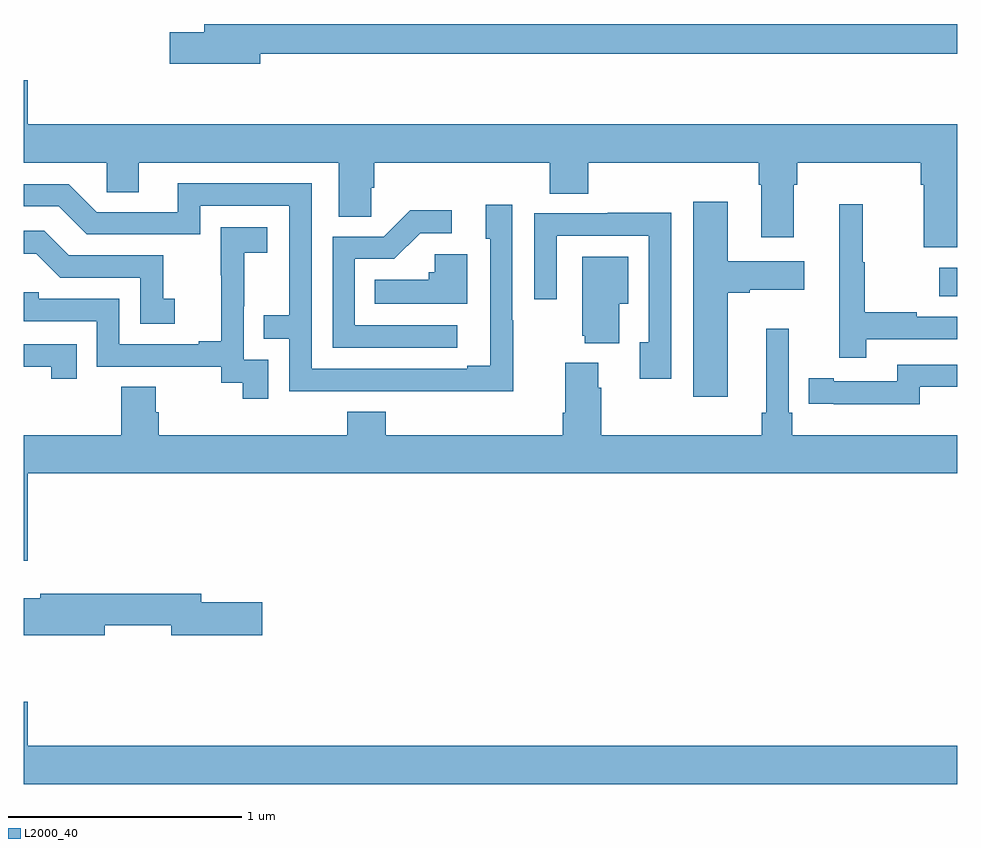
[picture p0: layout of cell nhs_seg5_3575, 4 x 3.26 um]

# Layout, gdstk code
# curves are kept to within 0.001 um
import gdstk
lib = gdstk.Library(unit=1e-6, precision=1e-09)
def R(c, l, rs):  # rectangles x0, y0, x1, y1
    for r in rs: c.add(gdstk.rectangle(r[:2], r[2:], *l))
def P(c, l, *ps):  # polygons
    for p in ps: c.add(gdstk.Polygon(p, *l))
L2000_40 = (2000, 40)

nhs_seg5_3575 = lib.new_cell('nhs_seg5_3575')
R(nhs_seg5_3575, L2000_40, [(324.923,893.483,325,893.605)])
P(nhs_seg5_3575, L2000_40, [(322.012,894.522),(325,894.522),(325,894.65),(321.773,894.65),(321.773,894.614),(321.624,894.614),(321.624,894.479),(322.012,894.479)],
  [(325,894.22),(321.016,894.22),(321.016,894.409),(321,894.409),(321,894.056),(321.354,894.056),(321.354,893.929),(321.493,893.929),(321.493,894.056),(322.349,894.056),(322.349,893.824),(322.488,893.824),(322.488,893.947),(322.502,893.947),(322.502,894.056),(323.255,894.056),(323.255,893.923),(323.42,893.923),(323.42,894.056),(324.149,894.056),(324.149,893.96),(324.161,893.96),(324.161,893.736),(324.301,893.736),(324.301,893.96),(324.314,893.96),(324.314,894.056),(324.845,894.056),(324.845,893.96),(324.857,893.96),(324.857,893.694),(325,893.694)],
  [(323.097,893.381),(323.094,893.381),(323.094,893.875),(322.979,893.875),(322.979,893.73),(322.998,893.73),(322.998,893.185),(322.901,893.185),(322.901,893.172),(322.233,893.172),(322.233,893.967),(321.659,893.967),(321.659,893.844),(321.312,893.844),(321.192,893.964),(321,893.964),(321,893.868),(321.15,893.868),(321.27,893.748),(321.756,893.748),(321.756,893.871),(322.137,893.871),(322.137,893.402),(322.027,893.402),(322.027,893.301),(322.137,893.301),(322.137,893.076),(323.097,893.075)],
  [(324.016,893.498),(324.112,893.498),(324.112,893.51),(324.346,893.51),(324.346,893.632),(324.016,893.632),(324.016,893.887),(323.87,893.887),(323.87,893.052),(324.016,893.052)],
  [(324.611,893.298),(325,893.298),(325,893.394),(324.827,893.394),(324.827,893.414),(324.604,893.414),(324.604,893.628),(324.596,893.628),(324.596,893.878),(324.494,893.878),(324.494,893.22),(324.611,893.22)],
  [(322.858,893.358),(322.419,893.358),(322.419,893.643),(322.588,893.643),(322.699,893.754),(322.834,893.754),(322.834,893.852),(322.655,893.852),(322.542,893.739),(322.323,893.739),(322.323,893.262),(322.858,893.262)],
  [(323.775,893.84),(323.503,893.84),(323.503,893.838),(323.187,893.838),(323.187,893.469),(323.283,893.469),(323.283,893.742),(323.679,893.742),(323.679,893.286),(323.639,893.286),(323.639,893.13),(323.775,893.13)],
  [(322.047,893.211),(321.942,893.211),(321.942,893.441),(321.944,893.441),(321.944,893.669),(322.042,893.669),(322.042,893.779),(321.844,893.779),(321.844,893.573),(321.845,893.573),(321.845,893.29),(321.749,893.29),(321.749,893.277),(321.408,893.277),(321.408,893.472),(321.063,893.472),(321.063,893.499),(321,893.499),(321,893.376),(321.312,893.376),(321.312,893.181),(321.846,893.181),(321.846,893.113),(321.939,893.113),(321.939,893.043),(322.047,893.043)],
  [(321.646,893.473),(321.597,893.473),(321.597,893.658),(321.193,893.658),(321.088,893.763),(321,893.763),(321,893.666),(321.052,893.666),(321.156,893.562),(321.498,893.562),(321.498,893.364),(321.646,893.364)],
  [(322.9,893.662),(322.761,893.662),(322.761,893.586),(322.735,893.586),(322.735,893.554),(322.504,893.554),(322.504,893.45),(322.9,893.45)],
  [(323.551,893.45),(323.59,893.45),(323.59,893.653),(323.393,893.653),(323.393,893.313),(323.405,893.313),(323.405,893.282),(323.551,893.282)],
  [(325,892.888),(324.293,892.888),(324.293,892.984),(324.279,892.984),(324.279,893.344),(324.182,893.344),(324.182,892.984),(324.163,892.984),(324.163,892.888),(323.474,892.888),(323.474,893.09),(323.461,893.09),(323.461,893.197),(323.321,893.197),(323.321,892.984),(323.309,892.984),(323.309,892.888),(322.55,892.888),(322.55,892.987),(322.385,892.987),(322.385,892.888),(321.578,892.888),(321.578,892.986),(321.565,892.986),(321.565,893.096),(321.418,893.096),(321.418,892.888),(321,892.888),(321,892.35),(321.016,892.35),(321.016,892.724),(325,892.724)],
  [(321.227,893.277),(321,893.277),(321,893.181),(321.116,893.181),(321.116,893.13),(321.227,893.13)],
  [(324.84,893.094),(325,893.094),(325,893.19),(324.744,893.19),(324.744,893.118),(324.472,893.118),(324.472,893.131),(324.364,893.131),(324.364,893.022),(324.472,893.022),(324.472,893.021),(324.84,893.021)],
  [(321.346,892.072),(321.632,892.072),(321.632,892.03),(322.021,892.03),(322.021,892.172),(321.76,892.172),(321.76,892.208),(321.07,892.208),(321.07,892.189),(321,892.189),(321,892.03),(321.346,892.03)],
  [(325,891.556),(321.016,891.556),(321.016,891.745),(321,891.745),(321,891.392),(325,891.392)])

lib.write_gds('nhs_seg5_3575.gds')
